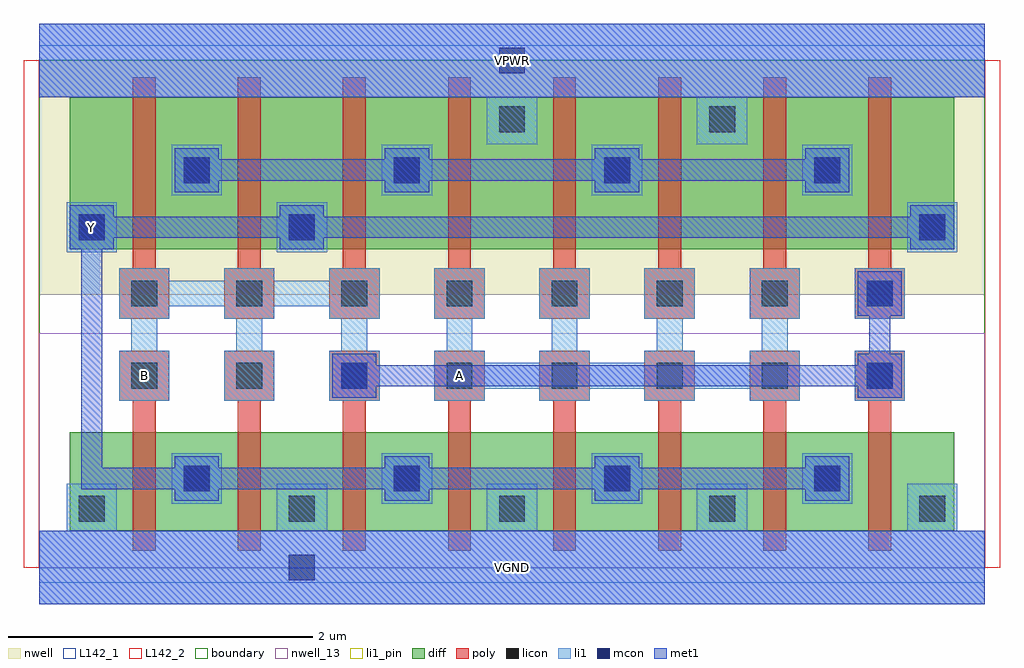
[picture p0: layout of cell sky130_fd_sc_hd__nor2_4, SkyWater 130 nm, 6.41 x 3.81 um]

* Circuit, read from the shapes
.subckt sky130_fd_sc_hd__nor2_4 A B VGND VPWR Y
XM1 Y B VGND VSUBS sky130_fd_pr__nfet_01v8 w=0.65 l=0.15 m=4
XM2 VGND A Y VSUBS sky130_fd_pr__nfet_01v8 w=0.65 l=0.15 m=4
XM3 n1 B Y n2 sky130_fd_pr__pfet_01v8 w=1 l=0.15 m=4
XM4 VPWR A n1 n2 sky130_fd_pr__pfet_01v8 w=1 l=0.15 m=4
.ends

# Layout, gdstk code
import gdstk
lib = gdstk.Library(unit=1e-6, precision=1e-09)
def R(c, l, rs):  # rectangles x0, y0, x1, y1
    for r in rs: c.add(gdstk.rectangle(r[:2], r[2:], *l))
def A(c, l, x, y, w, h, nx, ny, dx, dy):  # array of equal rectangles
    R(c, l, [(x+i*dx, y+j*dy, x+i*dx+w, y+j*dy+h) for i in range(nx) for j in range(ny)])
def P(c, l, *ps):  # polygons
    for p in ps: c.add(gdstk.Polygon(p, *l))
nwell_13 = (64, 13)
nwell = (64, 20)
diff = (65, 20)
poly = (66, 20)
licon = (66, 44)
li1_pin = (67, 16)
li1 = (67, 20)
mcon = (67, 44)
met1 = (68, 20)
L142_1 = (142, 1)
L142_2 = (142, 2)
boundary = (235, 4)

sky130_fd_sc_hd__nor2_4 = lib.new_cell('sky130_fd_sc_hd__nor2_4')
R(sky130_fd_sc_hd__nor2_4, nwell_13, [(0,0,6.21,1.54)])
R(sky130_fd_sc_hd__nor2_4, nwell, [(0,1.79,6.21,3.33)])
A(sky130_fd_sc_hd__nor2_4, diff, 0.615, 0.24, 0.69, 0.65, 7, 1, 0.69, 0)
A(sky130_fd_sc_hd__nor2_4, diff, 0.615, 2.09, 0.69, 1, 7, 1, 0.69, 0)
R(sky130_fd_sc_hd__nor2_4, diff, [(0.2,0.24,6.01,0.89), (0.2,0.24,0.615,0.89), (5.445,0.24,6.01,0.89), (0.2,2.09,6.01,3.09), (0.2,2.09,0.615,3.09), (5.445,2.09,6.01,3.09)])
P(sky130_fd_sc_hd__nor2_4, poly, [(0.615,0.11),(0.615,1.095),(0.525,1.095),(0.525,1.425),(0.855,1.425),(0.855,1.095),(0.765,1.095),(0.765,0.11)],
  [(1.305,0.11),(1.305,1.095),(1.215,1.095),(1.215,1.425),(1.545,1.425),(1.545,1.095),(1.455,1.095),(1.455,0.11)],
  [(1.995,0.11),(1.995,1.095),(1.905,1.095),(1.905,1.425),(2.235,1.425),(2.235,1.095),(2.145,1.095),(2.145,0.11)],
  [(5.445,0.11),(5.445,1.095),(5.355,1.095),(5.355,1.425),(5.685,1.425),(5.685,1.095),(5.595,1.095),(5.595,0.11)],
  [(0.525,1.635),(0.525,1.965),(0.615,1.965),(0.615,3.22),(0.765,3.22),(0.765,1.965),(0.855,1.965),(0.855,1.635)],
  [(1.215,1.635),(1.215,1.965),(1.305,1.965),(1.305,3.22),(1.455,3.22),(1.455,1.965),(1.545,1.965),(1.545,1.635)],
  [(1.905,1.635),(1.905,1.965),(1.995,1.965),(1.995,3.22),(2.145,3.22),(2.145,1.965),(2.235,1.965),(2.235,1.635)],
  [(5.355,1.635),(5.355,1.965),(5.445,1.965),(5.445,3.22),(5.595,3.22),(5.595,1.965),(5.685,1.965),(5.685,1.635)],
  [(2.685,0.11),(2.685,1.095),(2.595,1.095),(2.595,1.425),(2.925,1.425),(2.925,1.095),(2.835,1.095),(2.835,0.11)],
  [(3.375,0.11),(3.375,1.095),(3.285,1.095),(3.285,1.425),(3.615,1.425),(3.615,1.095),(3.525,1.095),(3.525,0.11)],
  [(4.065,0.11),(4.065,1.095),(3.975,1.095),(3.975,1.425),(4.305,1.425),(4.305,1.095),(4.215,1.095),(4.215,0.11)],
  [(4.755,0.11),(4.755,1.095),(4.665,1.095),(4.665,1.425),(4.995,1.425),(4.995,1.095),(4.905,1.095),(4.905,0.11)],
  [(2.595,1.635),(2.595,1.965),(2.685,1.965),(2.685,3.22),(2.835,3.22),(2.835,1.965),(2.925,1.965),(2.925,1.635)],
  [(3.285,1.635),(3.285,1.965),(3.375,1.965),(3.375,3.22),(3.525,3.22),(3.525,1.965),(3.615,1.965),(3.615,1.635)],
  [(3.975,1.635),(3.975,1.965),(4.065,1.965),(4.065,3.22),(4.215,3.22),(4.215,1.965),(4.305,1.965),(4.305,1.635)],
  [(4.665,1.635),(4.665,1.965),(4.755,1.965),(4.755,3.22),(4.905,3.22),(4.905,1.965),(4.995,1.965),(4.995,1.635)])
A(sky130_fd_sc_hd__nor2_4, licon, 0.26, 0.3, 0.17, 0.17, 5, 1, 1.38, 0)
A(sky130_fd_sc_hd__nor2_4, licon, 0.95, 0.5, 0.17, 0.17, 4, 2, 1.38, 2.025)
A(sky130_fd_sc_hd__nor2_4, licon, 0.605, 1.175, 0.17, 0.17, 8, 2, 0.69, 0.54)
R(sky130_fd_sc_hd__nor2_4, licon, [(0.26,2.15,0.43,2.32), (1.64,2.15,1.81,2.32), (5.78,2.15,5.95,2.32), (3.02,2.86,3.19,3.03), (4.4,2.86,4.57,3.03)])
R(sky130_fd_sc_hd__nor2_4, li1_pin, [(0,-0.24,6.21,0.24), (0.18,2.07,0.51,2.4), (0,3.09,6.21,3.57)])
P(sky130_fd_sc_hd__nor2_4, li1_pin, [(0.525,1.095),(0.525,1.425),(0.605,1.425),(0.605,1.635),(0.525,1.635),(0.525,1.965),(0.855,1.965),(0.855,1.885),(1.215,1.885),(1.215,1.965),(1.545,1.965),(1.545,1.885),(1.905,1.885),(1.905,1.965),(2.235,1.965),(2.235,1.635),(2.155,1.635),(2.155,1.425),(2.235,1.425),(2.235,1.095),(1.905,1.095),(1.905,1.425),(1.985,1.425),(1.985,1.635),(1.905,1.635),(1.905,1.715),(1.545,1.715),(1.545,1.635),(1.465,1.635),(1.465,1.425),(1.545,1.425),(1.545,1.095),(1.215,1.095),(1.215,1.425),(1.295,1.425),(1.295,1.635),(1.215,1.635),(1.215,1.715),(0.855,1.715),(0.855,1.635),(0.775,1.635),(0.775,1.425),(0.855,1.425),(0.855,1.095)],
  [(2.595,1.095),(2.595,1.425),(2.675,1.425),(2.675,1.635),(2.595,1.635),(2.595,1.965),(2.925,1.965),(2.925,1.635),(2.845,1.635),(2.845,1.425),(2.925,1.425),(2.925,1.345),(3.285,1.345),(3.285,1.425),(3.365,1.425),(3.365,1.635),(3.285,1.635),(3.285,1.965),(3.615,1.965),(3.615,1.635),(3.535,1.635),(3.535,1.425),(3.615,1.425),(3.615,1.345),(3.975,1.345),(3.975,1.425),(4.055,1.425),(4.055,1.635),(3.975,1.635),(3.975,1.965),(4.305,1.965),(4.305,1.635),(4.225,1.635),(4.225,1.425),(4.305,1.425),(4.305,1.345),(4.665,1.345),(4.665,1.425),(4.745,1.425),(4.745,1.635),(4.665,1.635),(4.665,1.965),(4.995,1.965),(4.995,1.635),(4.915,1.635),(4.915,1.425),(4.995,1.425),(4.995,1.095),(4.665,1.095),(4.665,1.175),(4.305,1.175),(4.305,1.095),(3.975,1.095),(3.975,1.175),(3.615,1.175),(3.615,1.095),(3.285,1.095),(3.285,1.175),(2.925,1.175),(2.925,1.095)])
A(sky130_fd_sc_hd__nor2_4, li1, 0.87, 0.42, 0.33, 0.33, 4, 2, 1.38, 2.025)
R(sky130_fd_sc_hd__nor2_4, li1, [(5.355,1.095,5.685,1.425), (5.355,1.635,5.685,1.965), (0.18,2.07,0.51,2.4), (1.56,2.07,1.89,2.4), (5.7,2.07,6.03,2.4)])
P(sky130_fd_sc_hd__nor2_4, li1, [(0.525,1.095),(0.525,1.425),(0.605,1.425),(0.605,1.635),(0.525,1.635),(0.525,1.965),(0.855,1.965),(0.855,1.885),(1.215,1.885),(1.215,1.965),(1.545,1.965),(1.545,1.885),(1.905,1.885),(1.905,1.965),(2.235,1.965),(2.235,1.635),(2.155,1.635),(2.155,1.425),(2.235,1.425),(2.235,1.095),(1.905,1.095),(1.905,1.425),(1.985,1.425),(1.985,1.635),(1.905,1.635),(1.905,1.715),(1.545,1.715),(1.545,1.635),(1.465,1.635),(1.465,1.425),(1.545,1.425),(1.545,1.095),(1.215,1.095),(1.215,1.425),(1.295,1.425),(1.295,1.635),(1.215,1.635),(1.215,1.715),(0.855,1.715),(0.855,1.635),(0.775,1.635),(0.775,1.425),(0.855,1.425),(0.855,1.095)],
  [(2.94,2.78),(2.94,3.09),(0,3.09),(0,3.57),(6.21,3.57),(6.21,3.09),(4.65,3.09),(4.65,2.78),(4.32,2.78),(4.32,3.09),(3.27,3.09),(3.27,2.78)],
  [(0,-0.24),(0,0.24),(0.18,0.24),(0.18,0.55),(0.51,0.55),(0.51,0.24),(1.56,0.24),(1.56,0.55),(1.89,0.55),(1.89,0.24),(2.94,0.24),(2.94,0.55),(3.27,0.55),(3.27,0.24),(4.32,0.24),(4.32,0.55),(4.65,0.55),(4.65,0.24),(5.7,0.24),(5.7,0.55),(6.03,0.55),(6.03,0.24),(6.21,0.24),(6.21,-0.24)],
  [(2.595,1.095),(2.595,1.425),(2.675,1.425),(2.675,1.635),(2.595,1.635),(2.595,1.965),(2.925,1.965),(2.925,1.635),(2.845,1.635),(2.845,1.425),(2.925,1.425),(2.925,1.345),(3.285,1.345),(3.285,1.425),(3.365,1.425),(3.365,1.635),(3.285,1.635),(3.285,1.965),(3.615,1.965),(3.615,1.635),(3.535,1.635),(3.535,1.425),(3.615,1.425),(3.615,1.345),(3.975,1.345),(3.975,1.425),(4.055,1.425),(4.055,1.635),(3.975,1.635),(3.975,1.965),(4.305,1.965),(4.305,1.635),(4.225,1.635),(4.225,1.425),(4.305,1.425),(4.305,1.345),(4.665,1.345),(4.665,1.425),(4.745,1.425),(4.745,1.635),(4.665,1.635),(4.665,1.965),(4.995,1.965),(4.995,1.635),(4.915,1.635),(4.915,1.425),(4.995,1.425),(4.995,1.095),(4.665,1.095),(4.665,1.175),(4.305,1.175),(4.305,1.095),(3.975,1.095),(3.975,1.175),(3.615,1.175),(3.615,1.095),(3.285,1.095),(3.285,1.175),(2.925,1.175),(2.925,1.095)])
A(sky130_fd_sc_hd__nor2_4, mcon, 0.95, 0.5, 0.17, 0.17, 4, 2, 1.38, 2.025)
R(sky130_fd_sc_hd__nor2_4, mcon, [(1.64,-0.085,1.81,0.085), (1.985,1.175,2.155,1.345), (5.435,1.175,5.605,1.345), (5.435,1.715,5.605,1.885), (0.26,2.15,0.43,2.32), (1.64,2.15,1.81,2.32), (5.78,2.15,5.95,2.32), (3.02,3.245,3.19,3.415)])
R(sky130_fd_sc_hd__nor2_4, met1, [(0,-0.24,6.21,0.24), (0,3.09,6.21,3.57)])
P(sky130_fd_sc_hd__nor2_4, met1, [(1.925,1.115),(1.925,1.405),(2.215,1.405),(2.215,1.33),(5.375,1.33),(5.375,1.405),(5.45,1.405),(5.45,1.655),(5.375,1.655),(5.375,1.945),(5.665,1.945),(5.665,1.655),(5.59,1.655),(5.59,1.405),(5.665,1.405),(5.665,1.115),(5.375,1.115),(5.375,1.19),(2.215,1.19),(2.215,1.115)],
  [(0.89,0.44),(0.89,0.515),(0.275,0.515),(0.275,2.09),(0.2,2.09),(0.2,2.38),(0.49,2.38),(0.49,2.305),(1.58,2.305),(1.58,2.38),(1.87,2.38),(1.87,2.305),(5.72,2.305),(5.72,2.38),(6.01,2.38),(6.01,2.09),(5.72,2.09),(5.72,2.165),(1.87,2.165),(1.87,2.09),(1.58,2.09),(1.58,2.165),(0.49,2.165),(0.49,2.09),(0.415,2.09),(0.415,0.655),(0.89,0.655),(0.89,0.73),(1.18,0.73),(1.18,0.655),(2.27,0.655),(2.27,0.73),(2.56,0.73),(2.56,0.655),(3.65,0.655),(3.65,0.73),(3.94,0.73),(3.94,0.655),(5.03,0.655),(5.03,0.73),(5.32,0.73),(5.32,0.44),(5.03,0.44),(5.03,0.515),(3.94,0.515),(3.94,0.44),(3.65,0.44),(3.65,0.515),(2.56,0.515),(2.56,0.44),(2.27,0.44),(2.27,0.515),(1.18,0.515),(1.18,0.44)],
  [(0.89,2.465),(0.89,2.755),(1.18,2.755),(1.18,2.68),(2.27,2.68),(2.27,2.755),(2.56,2.755),(2.56,2.68),(3.65,2.68),(3.65,2.755),(3.94,2.755),(3.94,2.68),(5.03,2.68),(5.03,2.755),(5.32,2.755),(5.32,2.465),(5.03,2.465),(5.03,2.54),(3.94,2.54),(3.94,2.465),(3.65,2.465),(3.65,2.54),(2.56,2.54),(2.56,2.465),(2.27,2.465),(2.27,2.54),(1.18,2.54),(1.18,2.465)])
R(sky130_fd_sc_hd__nor2_4, L142_1, [(0,-0.1,6.21,0), (0,3.33,6.21,3.43)])
R(sky130_fd_sc_hd__nor2_4, L142_2, [(-0.1,0,0,3.33), (6.21,0,6.31,3.33)])
R(sky130_fd_sc_hd__nor2_4, boundary, [(0,0,6.21,3.33)])
sky130_fd_sc_hd__nor2_4.add(gdstk.Label('Y', (0.345,2.235), layer=67, texttype=5))
sky130_fd_sc_hd__nor2_4.add(gdstk.Label('B', (0.69,1.26), layer=67, texttype=5))
sky130_fd_sc_hd__nor2_4.add(gdstk.Label('A', (2.76,1.26), layer=67, texttype=5))
sky130_fd_sc_hd__nor2_4.add(gdstk.Label('VGND', (3.105,0), layer=67, texttype=5))
sky130_fd_sc_hd__nor2_4.add(gdstk.Label('VPWR', (3.105,3.33), layer=67, texttype=5))
sky130_fd_sc_hd__nor2_4.add(gdstk.Label('VGND', (3.105,0), layer=68, texttype=5))
sky130_fd_sc_hd__nor2_4.add(gdstk.Label('VPWR', (3.105,3.33), layer=68, texttype=5))

lib.write_gds('sky130_fd_sc_hd__nor2_4.gds')
